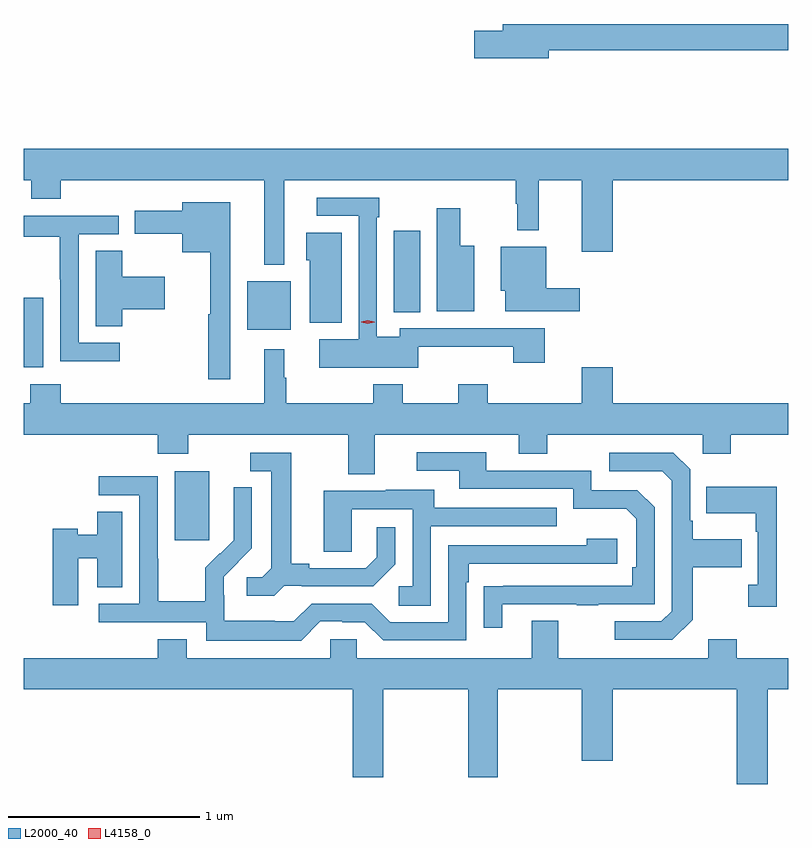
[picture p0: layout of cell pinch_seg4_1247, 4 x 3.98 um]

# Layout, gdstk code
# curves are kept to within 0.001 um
import gdstk
lib = gdstk.Library(unit=1e-6, precision=1e-09)
def R(c, l, rs):  # rectangles x0, y0, x1, y1
    for r in rs: c.add(gdstk.rectangle(r[:2], r[2:], *l))
def P(c, l, *ps):  # polygons
    for p in ps: c.add(gdstk.Polygon(p, *l))
L2000_40 = (2000, 40)
L4158_0 = (4158, 0)

pinch_seg4_1247 = lib.new_cell('pinch_seg4_1247')
R(pinch_seg4_1247, L2000_40, [(246.797,760.305,246.976,760.666), (246.006,761.21,246.109,761.571), (247.175,761.405,247.402,761.659), (247.943,761.497,248.08,761.923)])
P(pinch_seg4_1247, L2000_40, [(248.752,762.868),(250.006,762.868),(250.006,763.004),(248.513,763.004),(248.513,762.968),(248.364,762.968),(248.364,762.826),(248.752,762.826)],
  [(247.369,762.188),(248.581,762.188),(248.581,762.065),(248.589,762.065),(248.589,761.925),(248.7,761.925),(248.7,762.188),(248.924,762.188),(248.924,761.814),(249.088,761.814),(249.088,762.188),(250.006,762.188),(250.006,762.352),(246.006,762.352),(246.006,762.188),(246.047,762.188),(246.047,762.089),(246.2,762.089),(246.2,762.188),(247.265,762.188),(247.265,761.744),(247.369,761.744)],
  [(248.07,761.315),(248.567,761.315),(248.567,761.232),(248.732,761.232),(248.732,761.412),(247.974,761.412),(247.974,761.368),(247.854,761.368),(247.854,761.993),(247.867,761.993),(247.867,762.096),(247.539,762.096),(247.539,762),(247.758,762),(247.758,761.356),(247.551,761.356),(247.551,761.207),(248.07,761.207)],
  [(247.087,762.073),(246.836,762.073),(246.836,762.028),(246.588,762.028),(246.588,761.906),(246.836,761.906),(246.836,761.81),(246.983,761.81),(246.983,761.486),(246.973,761.486),(246.973,761.145),(247.087,761.145)],
  [(248.362,761.845),(248.29,761.845),(248.29,762.04),(248.168,762.04),(248.168,761.501),(248.362,761.501)],
  [(246.508,761.337),(246.294,761.337),(246.294,761.904),(246.503,761.904),(246.503,762),(246.006,762),(246.006,761.892),(246.196,761.892),(246.196,761.668),(246.198,761.668),(246.198,761.239),(246.508,761.239)],
  [(247.669,761.911),(247.484,761.911),(247.484,761.769),(247.502,761.769),(247.502,761.441),(247.669,761.441)],
  [(248.914,761.623),(248.74,761.623),(248.74,761.839),(248.501,761.839),(248.501,761.61),(248.525,761.61),(248.525,761.501),(248.914,761.501)],
  [(246.522,761.513),(246.745,761.513),(246.745,761.683),(246.522,761.683),(246.522,761.819),(246.383,761.819),(246.383,761.422),(246.522,761.422)],
  [(247.843,760.856),(248.597,760.856),(248.597,760.757),(248.745,760.757),(248.745,760.856),(249.558,760.856),(249.558,760.757),(249.705,760.757),(249.705,760.856),(250.006,760.856),(250.006,761.02),(249.088,761.02),(249.088,761.209),(248.924,761.209),(248.924,761.02),(248.433,761.02),(248.433,761.119),(248.278,761.119),(248.278,761.02),(247.989,761.02),(247.989,761.119),(247.834,761.119),(247.834,761.02),(247.379,761.02),(247.379,761.153),(247.369,761.153),(247.369,761.302),(247.265,761.302),(247.265,761.02),(246.2,761.02),(246.2,761.119),(246.04,761.119),(246.04,761.02),(246.006,761.02),(246.006,760.856),(246.707,760.856),(246.707,760.757),(246.867,760.757),(246.867,760.856),(247.703,760.856),(247.703,760.648),(247.843,760.648)],
  [(248.509,759.969),(248.899,759.969),(248.899,759.964),(249.011,759.964),(249.011,759.969),(249.306,759.969),(249.306,760.476),(249.216,760.566),(248.976,760.566),(248.976,760.668),(248.425,760.668),(248.425,760.764),(248.061,760.764),(248.061,760.668),(248.285,760.668),(248.285,760.572),(248.88,760.572),(248.88,760.469),(249.157,760.469),(249.21,760.416),(249.21,760.162),(249.19,760.162),(249.19,760.065),(248.413,760.064),(248.413,759.846),(248.509,759.846)],
  [(249.505,759.889),(249.505,760.162),(249.761,760.162),(249.761,760.309),(249.505,760.309),(249.505,760.405),(249.492,760.405),(249.492,760.674),(249.405,760.761),(249.069,760.761),(249.069,760.665),(249.345,760.665),(249.396,760.614),(249.396,759.933),(249.342,759.879),(249.099,759.879),(249.099,759.783),(249.399,759.783)],
  [(247.368,760.065),(247.462,760.065),(247.462,760.062),(247.834,760.062),(247.95,760.178),(247.95,760.372),(247.853,760.372),(247.853,760.215),(247.796,760.158),(247.501,760.158),(247.501,760.181),(247.405,760.181),(247.405,760.761),(247.191,760.761),(247.191,760.665),(247.301,760.665),(247.301,760.157),(247.254,760.11),(247.173,760.11),(247.173,760.013),(247.316,760.013)],
  [(247.557,759.879),(247.673,759.879),(247.673,759.876),(247.791,759.876),(247.887,759.78),(248.322,759.78),(248.322,760.085),(248.335,760.085),(248.335,760.182),(249.112,760.182),(249.112,760.312),(248.951,760.312),(248.951,760.278),(248.226,760.278),(248.226,759.876),(247.923,759.876),(247.827,759.972),(247.512,759.972),(247.419,759.879),(247.319,759.879),(247.319,759.883),(247.056,759.883),(247.056,760.017),(247.054,760.017),(247.054,760.114),(247.2,760.262),(247.2,760.58),(247.104,760.58),(247.104,760.426),(247.106,760.426),(247.106,760.304),(247.035,760.233),(247.032,760.236),(246.955,760.159),(246.955,759.985),(246.711,759.985),(246.711,760.208),(246.708,760.208),(246.708,760.638),(246.399,760.638),(246.399,760.539),(246.612,760.539),(246.612,759.972),(246.399,759.972),(246.399,759.876),(246.96,759.876),(246.96,759.779),(247.457,759.779)],
  [(249.944,760.585),(249.577,760.585),(249.577,760.445),(249.834,760.445),(249.834,760.349),(249.846,760.349),(249.846,760.07),(249.795,760.07),(249.795,759.957),(249.944,759.957)],
  [(248.136,760.377),(248.795,760.377),(248.795,760.473),(248.155,760.473),(248.155,760.567),(247.901,760.567),(247.901,760.563),(247.577,760.563),(247.577,760.243),(247.722,760.243),(247.722,760.467),(248.04,760.467),(248.04,760.062),(247.968,760.062),(247.968,759.961),(248.136,759.961)],
  [(246.292,760.211),(246.392,760.211),(246.392,760.057),(246.523,760.057),(246.523,760.454),(246.392,760.454),(246.392,760.333),(246.288,760.333),(246.288,760.364),(246.158,760.364),(246.158,759.963),(246.292,759.963)],
  [(249.897,759.524),(250.006,759.524),(250.006,759.688),(249.735,759.688),(249.735,759.787),(249.587,759.787),(249.587,759.688),(248.803,759.688),(248.803,759.883),(248.663,759.883),(248.663,759.688),(247.749,759.688),(247.749,759.786),(247.611,759.786),(247.611,759.688),(246.859,759.688),(246.859,759.787),(246.707,759.787),(246.707,759.688),(246.006,759.688),(246.006,759.524),(247.727,759.524),(247.727,759.063),(247.887,759.063),(247.887,759.524),(248.332,759.524),(248.332,759.063),(248.487,759.063),(248.487,759.524),(248.924,759.524),(248.924,759.15),(249.088,759.15),(249.088,759.524),(249.737,759.524),(249.737,759.029),(249.897,759.029)])
P(pinch_seg4_1247, L4158_0, [(247.807,761.435),(247.772,761.445),(247.772,761.445),(247.772,761.446),(247.807,761.455),(247.841,761.446),(247.842,761.445),(247.841,761.445)])

lib.write_gds('pinch_seg4_1247.gds')
